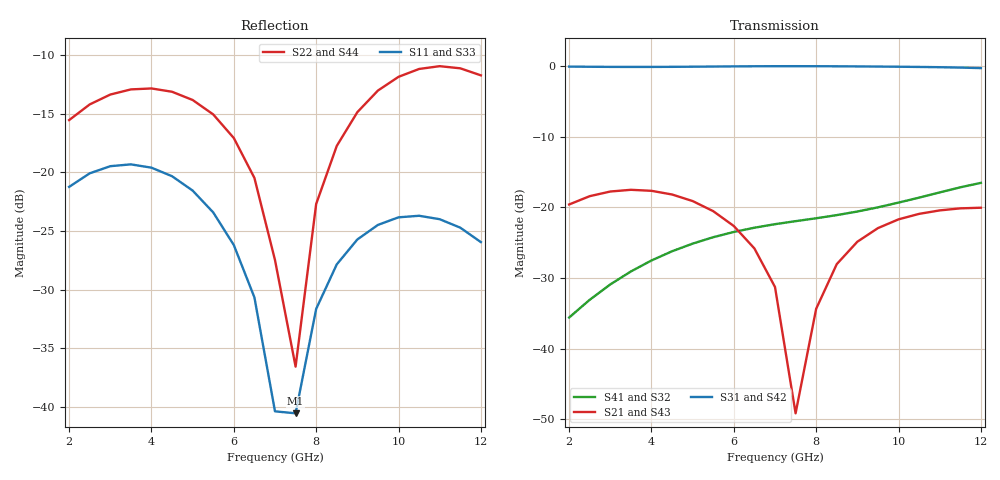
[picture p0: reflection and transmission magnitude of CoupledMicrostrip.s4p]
! Generated by circuitRF - EM: openEMS
! circuitRF-EM setup: Coupled Microstrip openEMS
! circuitRF-EM layout: Coupled Microstrip.c3d
! circuitRF-EM written: 2026-10-06 22:38:46Z
! circuitRF-EM geometry: 3577acc95441e38e
! circuitRF-EM mesh: 07ff644d541b302a
! circuitRF-EM ports: 98c97d6a5cd15348
! circuitRF-EM model: openEMS 0.37.0-rc3 (67d3784, CSXCAD dcdb62b)
! circuitRF-EM port 1: 'port/1' from 'airbox/zmin' to 'strip_a', wave (fed line, voltage and current probes at the reference plane), 50 Ohm
! circuitRF-EM port 2: 'port/2' from 'airbox/zmin' to 'strip_b', wave (fed line, voltage and current probes at the reference plane), 50 Ohm
! circuitRF-EM port 3: 'port/3' from 'airbox/zmin' to 'strip_a', wave (fed line, voltage and current probes at the reference plane), 50 Ohm
! circuitRF-EM port 4: 'port/4' from 'airbox/zmin' to 'strip_b', wave (fed line, voltage and current probes at the reference plane), 50 Ohm
! circuitRF-EM 3D port map: result port 1 is the 3D view's port 'xmin', terminal 'P1' (strip_a)
! circuitRF-EM 3D port map: result port 2 is the 3D view's port 'xmin', terminal 'P2' (strip_b)
! circuitRF-EM 3D port map: result port 3 is the 3D view's port 'xmax', terminal 'P3' (strip_a)
! circuitRF-EM 3D port map: result port 4 is the 3D view's port 'xmax', terminal 'P4' (strip_b)
! circuitRF-EM 3D grid: 769 x 164 x 48 = 6053568 cells; smallest cell 36.131 um on y, set by 'strip_a' edge at y = -150 um (thirds rule, outside; local cell 56.144 um); 'strip_b' edge at y = 150 um (thirds rule, outside; local cell 56.144 um)
! circuitRF-EM 3D openEMS run port 1: dt 9.47636E-14 s (estimate 8.48705E-14 s), 11554 steps, port signals unmeasured (stopped within the pulse) and energy 51.3 dB against 50 dB, stopped by openEMS's energy criterion, converged
! circuitRF-EM 3D openEMS run port 2: dt 9.47636E-14 s (estimate 8.48705E-14 s), 11554 steps, port signals unmeasured (stopped within the pulse) and energy 50.7 dB against 50 dB, stopped by openEMS's energy criterion, converged
! circuitRF-EM 3D openEMS run port 3: dt 9.47636E-14 s (estimate 8.48705E-14 s), 11554 steps, port signals unmeasured (stopped within the pulse) and energy 51.3 dB against 50 dB, stopped by openEMS's energy criterion, converged
! circuitRF-EM 3D openEMS run port 4: dt 9.47636E-14 s (estimate 8.48705E-14 s), 11554 steps, port signals unmeasured (stopped within the pulse) and energy 50.7 dB against 50 dB, stopped by openEMS's energy criterion, converged
! circuitRF-EM 3D dielectric loss fitted at: 7 GHz
! circuitRF-EM 3D perfect conductors: strip_a, strip_b
! circuitRF-EM 3D operating temperature: 20 C
! circuitRF-EM: re-running the EM setup rewrites this file. If circuitRF reports it as stale, the layout's cross-section changed after this file was written.
# GHz S RI R 50
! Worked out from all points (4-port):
!   21 points, 2 GHz to 12 GHz, reference 50 ohm
!   strongest paths, dB at 2 GHz, 4.5 GHz, 7 GHz, 9.5 GHz, 12 GHz:
!     S31: -0.1, -0.1, 0.0, -0.1, -0.3
!     S42: -0.2, -0.3, 0.0, -0.3, -0.6
!     S21: -19.6, -18.2, -31.3, -22.9, -20.1
!     S43: -19.6, -18.2, -31.3, -22.9, -20.1
!     S41: -35.6, -26.2, -22.4, -20.0, -16.5
!     S32: -35.6, -26.2, -22.4, -20.1, -16.6
!   lowest |S11| = -40.6 dB at 7.5 GHz (marker M1), VSWR 1.02, Z = 50 + j0.938 ohm
!   |S11| at or under -10 dB: start of sweep to end of sweep
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2  0.0657 0.0565  0.0791 0.0686  0.6513 -0.7448  -0.00943 -0.0137
   0.0791 0.0686  -0.1276 -0.1075  -0.00943 -0.0137  0.6285 -0.7504
   0.6513 -0.7448  -0.00943 -0.0137  0.0657 0.0565  0.0791 0.0686
   -0.00943 -0.0137  0.6285 -0.7504  0.0791 0.0686  -0.1276 -0.1075
4  0.1032 -0.0169  0.1301 -0.0139  -0.1152 -0.9775  -0.0419 -0.00329
   0.1301 -0.0139  -0.2261 0.027  -0.042 -0.00327  -0.1343 -0.954
   -0.1152 -0.9775  -0.0419 -0.00329  0.1032 -0.0169  0.1301 -0.0139
   -0.042 -0.00327  -0.1343 -0.954  0.1301 -0.0139  -0.2261 0.027
6  0.0238 -0.0427  0.0438 -0.0593  -0.813 -0.5699  -0.0403 0.0531
   0.0438 -0.0593  -0.0817 0.1135  -0.0405 0.0533  -0.8203 -0.5436
   -0.813 -0.5699  -0.0403 0.0531  0.0238 -0.0427  0.0438 -0.0593
   -0.0405 0.0533  -0.8203 -0.5436  0.0438 -0.0593  -0.0817 0.1135
7  -0.000607 -0.00955  0.00544 -0.0267  -0.9793 -0.1825  -0.0131 0.0744
   0.00541 -0.0268  -0.00856 0.0413  -0.0133 0.0748  -0.9849 -0.1424
   -0.9793 -0.1825  -0.0131 0.0744  -0.000607 -0.00955  0.00544 -0.0267
   -0.0133 0.0748  -0.9849 -0.1424  0.00541 -0.0268  -0.00856 0.0413
7.5  -8.21e-05 0.00938  -0.000279 -0.00343  -0.9959 0.03  0.00381 0.0792
     -0.000344 -0.00347  -0.00155 -0.0148  0.00371 0.0797  -0.9931 0.0805
     -0.9959 0.03  0.00381 0.0792  -8.2e-05 0.00938  -0.000279 -0.00343
     0.00371 0.0797  -0.9931 0.0805  -0.000344 -0.00347  -0.00155 -0.0148
8.5  0.0216 0.0343  0.0164 0.0362  -0.8916 0.4404  0.0389 0.0781
     0.0163 0.0362  -0.0614 -0.1141  0.0391 0.0789  -0.8518 0.4991
     -0.8916 0.4404  0.0389 0.0781  0.0216 0.0343  0.0164 0.0362
     0.0391 0.0789  -0.8518 0.4991  0.0163 0.0362  -0.0614 -0.1141
12  0.047 -0.0182  0.0988 -0.00838  0.3675 0.893  0.1327 -0.067
    0.0989 -0.00897  -0.2308 0.1174  0.1328 -0.0675  0.4104 0.8346
    0.3675 0.893  0.1327 -0.067  0.047 -0.0182  0.0988 -0.00838
    0.1328 -0.0675  0.4104 0.8346  0.0989 -0.00897  -0.2308 0.1174
